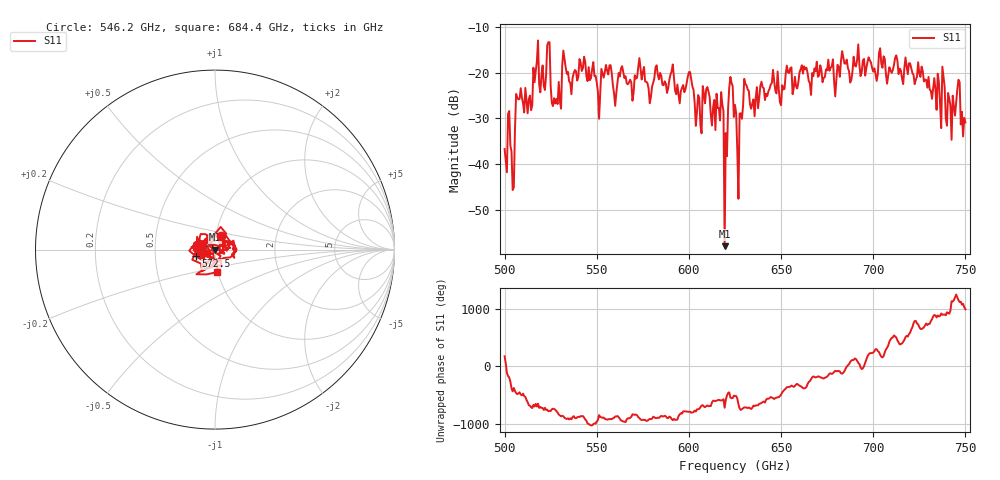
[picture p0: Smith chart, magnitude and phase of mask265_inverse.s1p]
!Created with skrf (http://scikit-rf.org).
# GHz S MA R 50.0
!freq magS11 angS11
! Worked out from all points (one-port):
!   401 points, 500 GHz to 750 GHz, reference 50 ohm
!   lowest |S11| = -58.0 dB at 619.4 GHz (marker M1), VSWR 1.00, Z = 50.1 + j0.000781 ohm
!   |S11| at or under -10 dB: start of sweep to end of sweep
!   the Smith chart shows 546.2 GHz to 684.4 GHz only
!   S11 on the Smith chart (normalised r, x): 546.2 GHz: 1.06, +0.16; 572.5 GHz: 0.80, -0.06; 684.4 GHz: 1.00, -0.25
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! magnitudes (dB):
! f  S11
! 500 GHz  -36.7
! 504.4 GHz  -45.7
! 507.5 GHz  -25.9
! 513.8 GHz  -25.0
! 516.9 GHz  -19.7
! 520.6 GHz  -18.4
! 523.8 GHz  -13.4
! 526.9 GHz  -25.6
! 531.2 GHz  -18.5
! 546.2 GHz  -21.7
! 562.5 GHz  -20.9
! 572.5 GHz  -18.9
! 593.8 GHz  -22.6
! 616.2 GHz  -27.8
! 619.4 GHz  -58.0
! 620.6 GHz  -38.3
! 622.5 GHz  -20.9
! 625 GHz  -27.1
! 627.5 GHz  -29.0
! 631.2 GHz  -22.8
! 634.4 GHz  -26.8
! 656.2 GHz  -24.7
! 684.4 GHz  -18.0
! 687.5 GHz  -22.2
! 718.8 GHz  -20.3
! 741.2 GHz  -25.7
! 745.6 GHz  -23.6
! 750 GHz  -30.9
